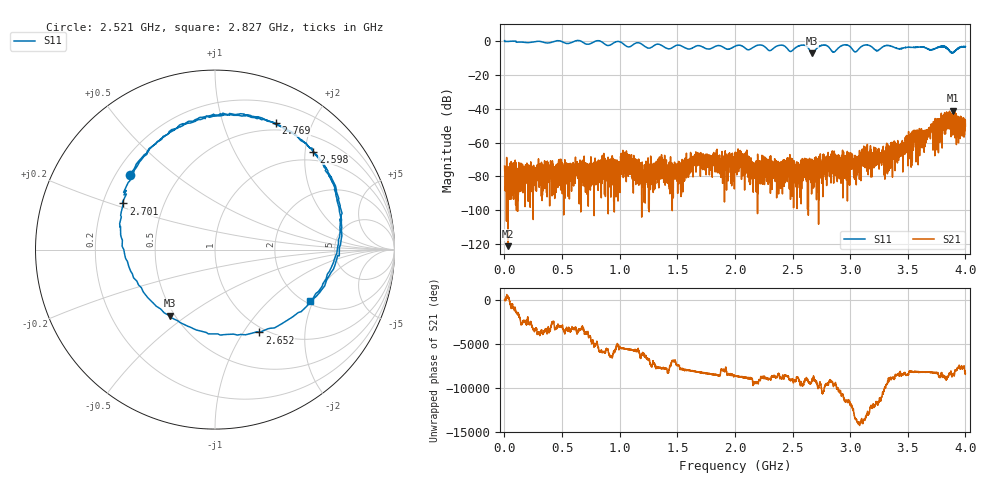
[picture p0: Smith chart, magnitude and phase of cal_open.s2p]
!Created with skrf (http://scikit-rf.org).
# GHz S RI R 50.0
!freq ReS11 ImS11 ReS21 ImS21 ReS12 ImS12 ReS22 ImS22
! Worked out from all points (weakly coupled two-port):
!   4000 points, 1 MHz to 4 GHz, reference 50 ohm
!   highest |S21| = -41.03 dB at 3.892 GHz (marker M1); lowest = -121.5 dB at 29 MHz (marker M2)
!   lowest |S11| = -7.0 dB at 2.671 GHz (marker M3), VSWR 2.61, Z = 23.5 - j21.6 ohm
!   |S11| at or under -10 dB: nowhere
!   S12 and S22 are empty: the file has one direction only
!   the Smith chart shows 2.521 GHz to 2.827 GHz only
!   S11 on the Smith chart (normalised r, x): 2.521 GHz: 0.26, +0.36; 2.598 GHz: 0.80, +2.18; 2.652 GHz: 0.93, -1.18; 2.701 GHz: 0.29, +0.22; 2.769 GHz: 0.42, +1.51; 2.827 GHz: 2.10, -1.88
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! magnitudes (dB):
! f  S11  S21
! 1 MHz  0.5  -73.9
! 29 MHz  0.0  -121.5
! 668 MHz  0.0  -75.9
! 970 MHz  -0.2  -79.0
! 1.068 GHz  -3.2  -77.2
! 1.206 GHz  -2.3  -80.2
! 1.334 GHz  -1.7  -83.8
! 1.515 GHz  -2.2  -81.0
! 1.679 GHz  -2.5  -69.2
! 2.001 GHz  -2.8  -67.0
! 2.521 GHz  -4.0  -73.9
! 2.598 GHz  -2.2  -78.4
! 2.652 GHz  -5.6  -77.2
! 2.667 GHz  -6.9  -78.1
! 2.671 GHz  -7.0  -84.4
! 2.701 GHz  -4.9  -77.6
! 2.769 GHz  -2.1  -80.5
! 2.827 GHz  -4.4  -70.5
! 3.334 GHz  -2.5  -66.6
! 3.831 GHz  -3.6  -43.7
! 3.892 GHz  -6.9  -41.0
! 4 GHz  -3.1  -50.2
